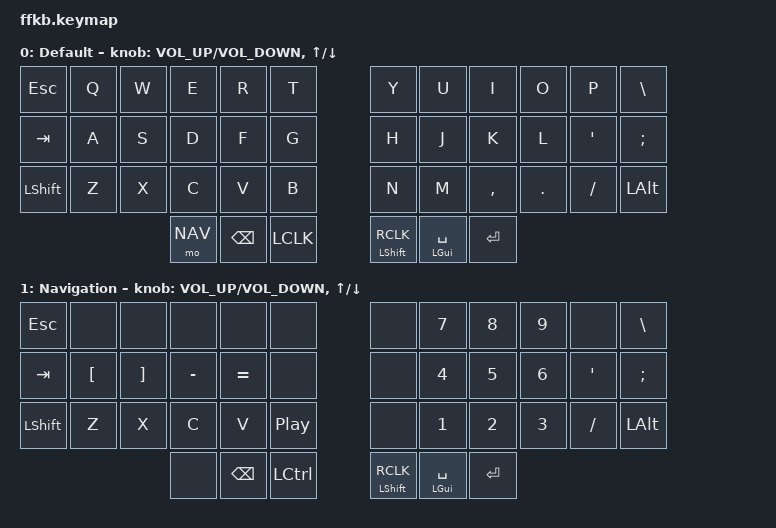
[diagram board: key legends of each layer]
#include <behaviors.dtsi>
#include <dt-bindings/zmk/keys.h>
#include <dt-bindings/zmk/mouse.h>
#include <dt-bindings/zmk/outputs.h>

#define DEFAULT 0
#define NAV     1
#define SYM     2
#define FUNC    3
#define MEDIA   4
#define MOUSE   5
#define WINNAV  6

&caps_word {
    continue-list = <UNDERSCORE MINUS>;
};

/ {
    sensors {
        compatible = "zmk,keymap-sensors";
        sensors = <&encoder_1 &encoder_2>;
    };

    behaviors {
        hm: homerow_mods {
            compatible = "zmk,behavior-hold-tap";
            label = "HOMEROW_MODS";
            #binding-cells = <2>;
            tapping-term-ms = <200>;
            quick_tap_ms = <0>;
            flavor = "balanced";
            bindings = <&kp>, <&kp>;
        };
        hs: homerow_shift {
            compatible = "zmk,behavior-hold-tap";
            label = "HOMEROW_SHIFT";
            #binding-cells = <2>;
            tapping-term-ms = <175>;
            quick_tap_ms = <0>;
            flavor = "balanced";
            bindings = <&kp>, <&kp>;
        };
    };

    keymap {
        compatible = "zmk,keymap";

        default_layer {
            label = "Default";
            sensor-bindings = <&inc_dec_kp C_VOLUME_UP C_VOLUME_DOWN &inc_dec_kp UP DOWN>;
            bindings = <
&kp ESC    &kp Q  &kp W  &kp E  &kp R  &kp T       &kp Y  &kp U  &kp I      &kp O   &kp P    &kp BSLH
&kp TAB    &kp A  &kp S  &kp D  &kp F  &kp G       &kp H  &kp J  &kp K      &kp L   &kp SQT  &kp SEMI
&kp LSHFT  &kp Z  &kp X  &kp C  &kp V  &kp B       &kp N  &kp M  &kp COMMA  &kp DOT &kp FSLH &kp LALT
               &mo NAV  &kp BSPC  &kp LCLK       &mt LSHFT RCLK  &mt LGUI SPACE  &kp RET
            >;
        };

        nav_layer {
            label = "Navigation";
            sensor-bindings = <&inc_dec_kp C_VOLUME_UP C_VOLUME_DOWN &inc_dec_kp UP DOWN>;
            bindings = <
&kp ESC    &none     &none     &none     &none        &none        &none     &kp N7 &kp N8 &kp N9 &none    &kp BSLH
&kp TAB    &kp LBKT  &kp RBKT  &kp MINUS &kp EQUAL    &none        &none     &kp N4 &kp N5 &kp N6 &kp SQT  &kp SEMI
&kp LSHFT  &kp Z     &kp X     &kp C     &kp V        &kp C_PP     &none     &kp N1 &kp N2 &kp N3 &kp FSLH &kp LALT
               &none      &kp BSPC  &kp LCTRL        &mt LSHFT RCLK  &mt LGUI SPACE  &kp RET
            >;
        };
    };
};
